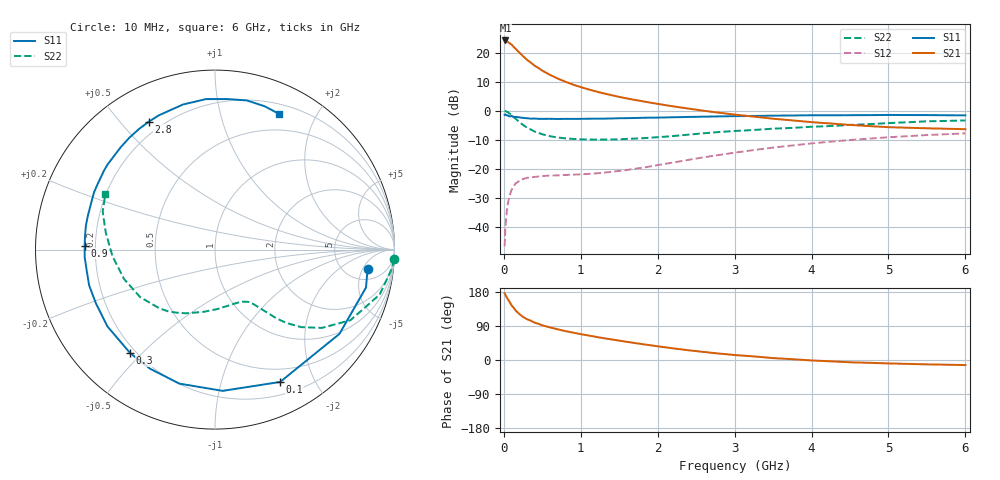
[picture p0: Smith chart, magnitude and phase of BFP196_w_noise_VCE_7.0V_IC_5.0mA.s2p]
! Infineon Technologies  Discrete & RF Semiconductors
! BFP196
! VCE =  7.0 V,  IC =  5.0 mA
! Common Emitter S-Parameters:  Jan 2017
# GHz  S  MA  R  50
!  f  S11  S21  S12  S22
! GHz  MAG  ANG  MAG  ANG  MAG  ANG  MAG  ANG
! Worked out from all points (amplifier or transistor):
!   77 points, 10 MHz to 6 GHz, reference 50 ohm
!   highest |S21| = 24.2 dB at 20 MHz (marker M1)
!   |S21| within 3 dB of that: start of sweep to 158.2 MHz
!   unconditionally stable (mu >= 1): 1.192 GHz to 2.335 GHz
!   at 130 MHz: K = 0.14, MSG = 23.9 dB, |S12| = -25.9 dB
!   at 2.2 GHz: K = 1.04, MAG = 8.5 dB, |S12| = -17.8 dB
!   at 6 GHz: K = 0.94, MSG = 0.7 dB, |S12| = -7.7 dB
!   lowest NFmin = 1.01 dB at 450 MHz
!   S11 on the Smith chart (normalised r, x): 10 MHz: 8, -6; 100 MHz: 0.34, -1.55; 300 MHz: 0.18, -0.46; 900 MHz: 0.16, +0.02; 2.8 GHz: 0.15, +0.60; 6 GHz: 0.30, +1.53
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0.01  0.8568 -7.1  16.15 176.2  0.0047 86.0  1 -3.1
0.02  0.8674 -14.1  16.24 172.3  0.0096 86.1  0.9894 -6.4
0.05  0.8375 -34.1  15.5 160.8  0.0246 72.1  0.9511 -15.3
0.1  0.8218 -63.8  13.8 144.4  0.0438 58.7  0.8506 -27.6
0.15  0.7882 -86.9  11.79 131.4  0.056 47.9  0.737 -36.3
0.2  0.7726 -104.9  10.11 121.6  0.062 41.2  0.6454 -42.0
0.25  0.7559 -118.6  8.709 113.6  0.0674 35.8  0.5714 -45.7
0.3  0.7457 -129.3  7.577 107.8  0.0703 32.3  0.515 -48.2
0.4  0.7365 -144.5  5.994 98.6  0.073 28.6  0.4398 -51.1
0.5  0.7279 -155.7  4.908 91.6  0.0755 27.0  0.3954 -53.3
0.6  0.7291 -164.1  4.159 85.9  0.0773 26.2  0.3662 -55.2
0.7  0.7243 -170.7  3.592 81.0  0.0775 26.6  0.3475 -57.1
0.9  0.7265 178.2  2.826 72.2  0.0799 29.1  0.3289 -62.0
1.1  0.7316 169.4  2.341 64.7  0.0823 33.0  0.3213 -67.9
1.3  0.7346 161.6  1.992 57.6  0.0864 36.3  0.3206 -74.5
1.5  0.7458 154.6  1.737 51.1  0.0927 40.6  0.3239 -81.8
2.1  0.7694 135.6  1.255 33.5  0.1227 49.4  0.3595 -104.1
2.8  0.8022 117.5  0.927 16.9  0.1743 50.3  0.4325 -127.4
3.1  0.812 110.7  0.835 11.7  0.1989 48.1  0.4569 -136.5
4.1  0.839 91.8  0.625 -2.1  0.2827 37.6  0.5378 -165.1
5.1  0.8479 76.6  0.519 -9.5  0.3573 23.9  0.6235 169.0
6  0.8363 64.8  0.483 -13.4  0.4103 11.6  0.6843 153.2
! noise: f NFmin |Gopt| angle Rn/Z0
0.45  1.01  0.42  127  0.08
0.9  1.47  0.55  170  0.06
1.9  2.9  0.74  -142  0.31
2.4  3.55  0.76  -125  0.95
